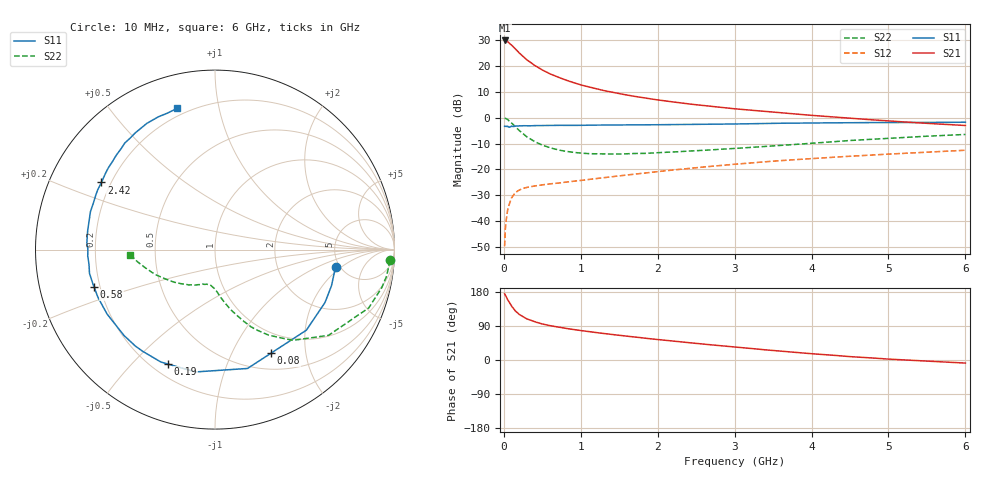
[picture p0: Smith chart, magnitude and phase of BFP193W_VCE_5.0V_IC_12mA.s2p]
! Infineon Technologies  Discrete & RF Semiconductors
! BFP193W
! VCE = 5.0 V,  IC =  12 mA
! Common Emitter S-Parameters:  Jan 2016
# GHz  S  MA  R  50
!  f  S11  S21  S12  S22
! GHz  MAG  ANG  MAG  ANG  MAG  ANG  MAG  ANG
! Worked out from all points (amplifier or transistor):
!   210 points, 10 MHz to 6 GHz, reference 50 ohm
!   highest |S21| = 29.8 dB at 10 MHz (marker M1)
!   |S21| within 3 dB of that: start of sweep to 140.5 MHz
!   unconditionally stable (mu >= 1): 1.243 GHz to 4.341 GHz
!   at 185 MHz: K = 0.24, MSG = 26.8 dB, |S12| = -28.2 dB
!   at 1.52 GHz: K = 1.07, MAG = 14.1 dB, |S12| = -22.4 dB
!   at 6 GHz: K = 0.92, MSG = 4.8 dB, |S12| = -12.6 dB
!   S11 on the Smith chart (normalised r, x): 10 MHz: 4.59, -1.67; 80 MHz: 0.71, -1.43; 190 MHz: 0.26, -0.64; 580 MHz: 0.18, -0.15; 2.42 GHz: 0.16, +0.27; 6 GHz: 0.16, +0.76
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0.01  0.6785 -8.3  30.81 174.7  0.0033 88.0  0.9769 -3.5
0.02  0.6796 -17.2  30.78 171.2  0.0072 80.7  0.9677 -8.7
0.03  0.6801 -25.7  30.38 167.1  0.0102 80.1  0.9532 -12.8
0.05  0.6788 -41.4  29.23 158.9  0.0166 71.6  0.916 -20.8
0.08  0.6561 -61.6  26.53 149.4  0.0234 61.5  0.8334 -30.0
0.1  0.6866 -74.7  25.2 142.0  0.0282 57.6  0.7923 -37.1
0.105  0.6814 -77.1  24.75 140.9  0.0289 56.4  0.7783 -38.1
0.15  0.6903 -99.1  21.14 129.2  0.0357 47.9  0.666 -49.4
0.19  0.6895 -112.4  18.34 122.3  0.0391 43.1  0.5823 -56.0
0.24  0.6953 -125.4  15.59 115.1  0.0425 38.8  0.5019 -62.8
0.3  0.6971 -136.6  12.99 108.4  0.045 36.2  0.4241 -68.7
0.4  0.7004 -149.2  10.16 100.7  0.0479 33.7  0.3444 -75.5
0.58  0.7054 -162.9  7.249 91.6  0.0521 34.0  0.2679 -83.2
0.8  0.7067 -173.5  5.318 83.5  0.0566 36.0  0.224 -89.3
1.02  0.7094 179.2  4.202 77.2  0.0617 38.9  0.2055 -94.7
1.4  0.7179 169.4  3.097 67.4  0.0721 43.0  0.1983 -101.8
2.02  0.7287 156.6  2.175 53.7  0.0914 46.7  0.2111 -112.3
2.42  0.7348 149.4  1.824 45.4  0.105 47.5  0.2266 -119.4
3.1  0.7565 137.9  1.436 32.5  0.1294 46.7  0.2592 -132.1
4.1  0.7891 123.2  1.077 15.2  0.1656 42.9  0.327 -150.8
5.1  0.8042 112.3  0.843 1.4  0.2007 37.9  0.407 -166.4
6  0.8146 104.9  0.704 -8.1  0.2343 33.3  0.4728 -176.5
